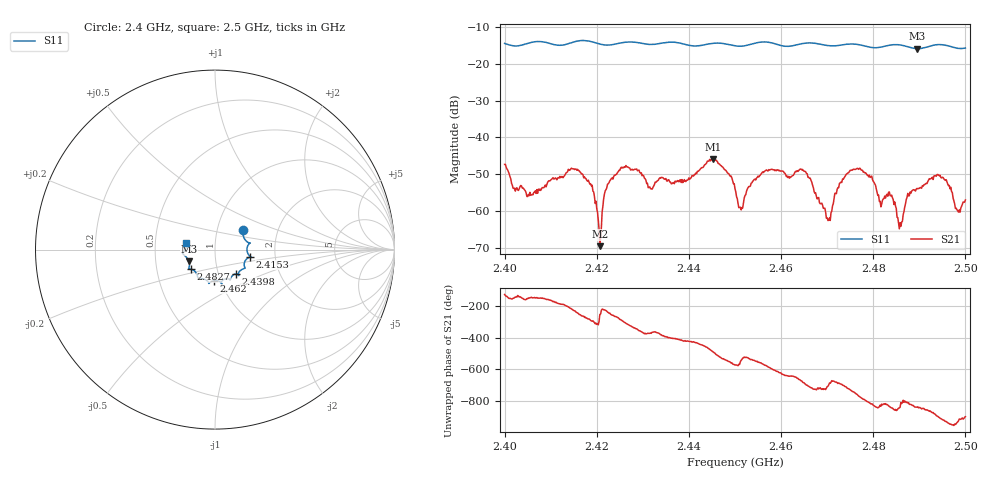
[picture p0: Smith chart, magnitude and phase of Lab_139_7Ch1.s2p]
# Hz S RI R 50
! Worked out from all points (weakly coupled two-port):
!   601 points, 2.4 GHz to 2.5 GHz, reference 50 ohm
!   highest |S21| = -45.95 dB at 2.4452 GHz (marker M1); lowest = -69.5 dB at 2.4207 GHz (marker M2)
!   lowest |S11| = -15.9 dB at 2.4895 GHz (marker M3), VSWR 1.38, Z = 37 - j5 ohm
!   |S11| at or under -10 dB: start of sweep to end of sweep
!   S12 and S22 are empty: the file has one direction only
!   S11 on the Smith chart (normalised r, x): 2.4 GHz: 1.33, +0.29; 2.4153 GHz: 1.48, -0.12; 2.4398 GHz: 1.21, -0.34; 2.462 GHz: 0.93, -0.33; 2.4827 GHz: 0.75, -0.17; 2.5 GHz: 0.72, +0.06
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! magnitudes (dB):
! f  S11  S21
! 2.4 GHz  -14.5  -47.3
! 2.4053 GHz  -14.4  -55.8
! 2.4153 GHz  -14.0  -48.6
! 2.4167 GHz  -13.7  -49.9
! 2.4207 GHz  -14.6  -69.5
! 2.4222 GHz  -14.9  -53.7
! 2.4252 GHz  -14.4  -48.4
! 2.4333 GHz  -14.6  -51.7
! 2.4398 GHz  -15.0  -51.5
! 2.4452 GHz  -14.5  -45.9
! 2.45 GHz  -15.1  -53.9
! 2.4513 GHz  -15.2  -59.7
! 2.4563 GHz  -14.1  -49.3
! 2.462 GHz  -15.2  -50.7
! 2.4667 GHz  -14.4  -52.1
! 2.4702 GHz  -15.1  -62.6
! 2.4753 GHz  -14.6  -48.8
! 2.4827 GHz  -15.2  -56.5
! 2.4833 GHz  -15.0  -54.9
! 2.4858 GHz  -14.9  -63.1
! 2.4895 GHz  -15.9  -53.8
! 2.5 GHz  -15.7  -57.0
